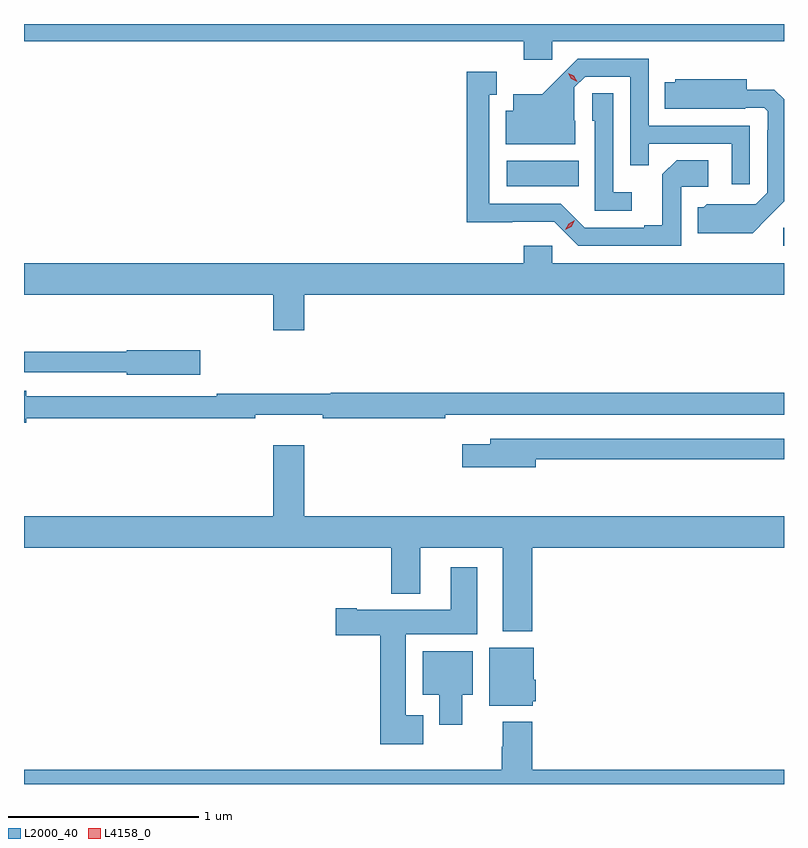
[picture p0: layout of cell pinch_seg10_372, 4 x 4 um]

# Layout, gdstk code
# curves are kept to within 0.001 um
import gdstk
lib = gdstk.Library(unit=1e-6, precision=1e-09)
def R(c, l, rs):  # rectangles x0, y0, x1, y1
    for r in rs: c.add(gdstk.rectangle(r[:2], r[2:], *l))
def P(c, l, *ps):  # polygons
    for p in ps: c.add(gdstk.Polygon(p, *l))
L2000_40 = (2000, 40)
L4158_0 = (4158, 0)

pinch_seg10_372 = lib.new_cell('pinch_seg10_372')
R(pinch_seg10_372, L2000_40, [(599.259,1256.616,599.264,1256.712), (597.804,1256.93,598.184,1257.064)])
P(pinch_seg10_372, L2000_40, [(595.264,1257.692),(597.893,1257.692),(597.893,1257.597),(598.044,1257.597),(598.044,1257.692),(599.264,1257.692),(599.264,1257.784),(595.264,1257.784)],
  [(599.085,1257.249),(598.551,1257.249),(598.551,1257.6),(598.178,1257.6),(597.991,1257.415),(597.839,1257.415),(597.839,1257.328),(597.8,1257.328),(597.8,1257.152),(598.165,1257.152),(598.165,1257.276),(598.161,1257.276),(598.161,1257.45),(598.218,1257.507),(598.455,1257.507),(598.455,1257.04),(598.553,1257.04),(598.553,1257.153),(598.989,1257.153),(598.989,1256.94),(599.085,1256.94)],
  [(598.722,1256.928),(598.864,1256.928),(598.864,1257.068),(598.699,1257.068),(598.623,1256.992),(598.623,1256.725),(598.529,1256.725),(598.529,1256.712),(598.215,1256.712),(598.089,1256.838),(597.712,1256.838),(597.712,1257.411),(597.751,1257.411),(597.751,1257.532),(597.594,1257.532),(597.594,1256.741),(598.056,1256.742),(598.182,1256.616),(598.722,1256.616)],
  [(599.179,1256.765),(599.264,1256.851),(599.264,1257.387),(599.212,1257.439),(599.068,1257.439),(599.068,1257.493),(598.692,1257.493),(598.692,1257.478),(598.636,1257.478),(598.636,1257.338),(599.06,1257.338),(599.06,1257.342),(599.16,1257.342),(599.178,1257.324),(599.178,1257.224),(599.175,1257.224),(599.175,1256.895),(599.115,1256.835),(598.858,1256.836),(598.842,1256.82),(598.811,1256.82),(598.811,1256.684),(599.099,1256.684)],
  [(598.462,1256.899),(598.365,1256.899),(598.365,1257.419),(598.254,1257.419),(598.254,1257.276),(598.269,1257.276),(598.269,1256.802),(598.462,1256.802)],
  [(596.74,1256.36),(599.264,1256.36),(599.264,1256.524),(598.044,1256.524),(598.044,1256.617),(597.893,1256.617),(597.893,1256.524),(595.264,1256.524),(595.264,1256.36),(596.576,1256.36),(596.576,1256.172),(596.74,1256.172)],
  [(596.191,1256.067),(595.806,1256.067),(595.806,1256.059),(595.264,1256.059),(595.264,1255.95),(595.806,1255.95),(595.806,1255.937),(596.191,1255.937)],
  [(595.276,1255.708),(596.48,1255.708),(596.48,1255.727),(596.836,1255.727),(596.836,1255.708),(597.482,1255.708),(597.482,1255.728),(599.264,1255.728),(599.264,1255.844),(596.878,1255.844),(596.878,1255.837),(596.278,1255.837),(596.278,1255.824),(595.276,1255.824),(595.276,1255.855),(595.264,1255.855),(595.264,1255.685),(595.276,1255.685)],
  [(597.958,1255.494),(599.264,1255.494),(599.264,1255.602),(597.719,1255.602),(597.719,1255.573),(597.57,1255.573),(597.57,1255.451),(597.958,1255.451)],
  [(597.938,1255.028),(599.264,1255.028),(599.264,1255.192),(596.74,1255.192),(596.74,1255.567),(596.576,1255.567),(596.576,1255.192),(595.264,1255.192),(595.264,1255.028),(597.197,1255.028),(597.197,1254.785),(597.349,1254.785),(597.349,1255.028),(597.785,1255.028),(597.785,1254.587),(597.938,1254.587)],
  [(597.364,1254.145),(597.274,1254.145),(597.274,1254.572),(597.649,1254.572),(597.649,1254.925),(597.509,1254.925),(597.509,1254.7),(597.016,1254.7),(597.016,1254.708),(596.904,1254.708),(596.904,1254.566),(597.14,1254.566),(597.14,1253.993),(597.364,1253.993)],
  [(597.942,1254.219),(597.958,1254.219),(597.958,1254.333),(597.946,1254.333),(597.946,1254.502),(597.713,1254.502),(597.713,1254.197),(597.942,1254.197)],
  [(597.571,1254.254),(597.625,1254.254),(597.625,1254.484),(597.362,1254.484),(597.362,1254.254),(597.449,1254.254),(597.449,1254.096),(597.571,1254.096)],
  [(599.264,1253.86),(597.938,1253.86),(597.938,1254.112),(597.785,1254.112),(597.785,1253.981),(597.778,1253.981),(597.778,1253.86),(595.264,1253.86),(595.264,1253.784),(599.264,1253.784)])
P(pinch_seg10_372, L4158_0, [(598.175,1257.48),(598.145,1257.496),(598.128,1257.526),(598.128,1257.526),(598.128,1257.526),(598.158,1257.511),(598.176,1257.481),(598.176,1257.48)],
  [(598.113,1256.7),(598.113,1256.7),(598.131,1256.732),(598.162,1256.751),(598.163,1256.751),(598.163,1256.751),(598.145,1256.718),(598.113,1256.7)])

lib.write_gds('pinch_seg10_372.gds')
